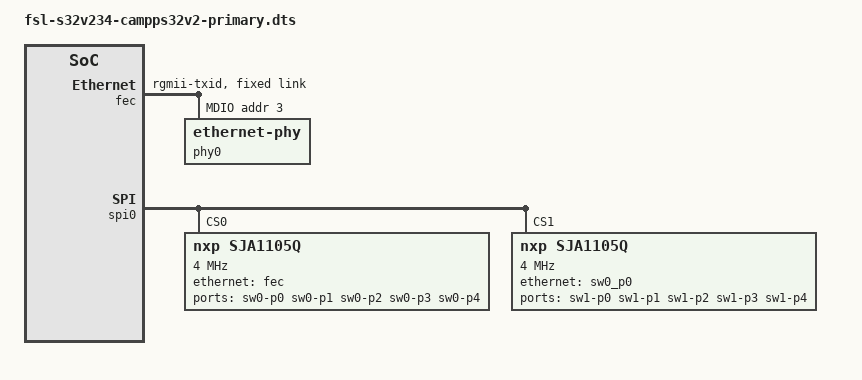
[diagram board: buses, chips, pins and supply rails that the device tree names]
// SPDX-License-Identifier: GPL-2.0+
/*
 * Copyright 2020 NXP
 *
 * This program is free software; you can redistribute it and/or modify
 * it under the terms of the GNU General Public License as published by
 * the Free Software Foundation; either version 2 of the License, or
 * (at your option) any later version.
 */

/dts-v1/;
#include "fsl-s32v234-campps32v2.dtsi"

/ {
	chosen {
		stdout-path = "serial0:115200n8";
	};
};

&fec {
	phy-mode = "rgmii-txid";
	status = "okay";

	fixed-link {
		speed=<1000>;
		full-duplex;
	};

	mdio {
		#address-cells = <1>;
		#size-cells = <0>;
		phy0: ethernet-phy@3 {
			reg = <3>;
		};
	};
};

&spi0 {
	#address-cells = <1>;
	#size-cells = <0>;
	pinctrl-names = "default";
	pinctrl-0 = <&pinctrl_dspi0>;
	status = "okay";

	sja1105q@0 {
		compatible = "nxp,sja1105q";
		spi-max-frequency = <0x3D0900>;
		spi-cpha;
		fsl,spi-cs-sck-delay = <100>;
		fsl,spi-sck-cs-delay = <100>;
		reg = <0>;

		dsa,member = < 0 0 >;

		ports {
			#address-cells = <1>;
			#size-cells = <0>;

			sw0_p0: port@0 {
				label = "sw0-p0";
				phy-mode = "rgmii-txid";
				reg = <0>;

				fixed-link {
					speed = <1000>;
					full-duplex;
				};
			};

			port@1 {
				label = "sw0-p1";
				phy-handle = <&phy0>;
				phy-mode = "rgmii-id";
				reg = <1>;
			};

			port@2 {
				label = "sw0-p2";
				phy-mode = "rgmii-txid";
				ethernet = <&fec>;
				reg = <2>;

				fixed-link {
					speed = <1000>;
					full-duplex;
				};
			};

			port@3 {
				label = "sw0-p3";
				phy-mode = "rgmii-txid";
				reg = <3>;

				fixed-link {
					speed = <1000>;
					full-duplex;
				};
			};

			port@4 {
				label = "sw0-p4";
				phy-mode = "rgmii-txid";
				reg = <4>;

				fixed-link {
					speed = <1000>;
					full-duplex;
				};
			};
		};
	};

	sja1105q@1 {
		compatible = "nxp,sja1105q";
		spi-max-frequency = <0x3D0900>;
		spi-cpha;
		fsl,spi-cs-sck-delay = <100>;
		fsl,spi-sck-cs-delay = <100>;
		reg = <1>;

		dsa,member = < 1 0 >;

		ports {
			#address-cells = <1>;
			#size-cells = <0>;

			sw1_p0: port@0 {
				label = "sw1-p0";
				phy-mode = "rgmii-txid";
				ethernet = <&sw0_p0>;
				reg = <0>;

				fixed-link {
					speed = <1000>;
					full-duplex;
				};
			};

			port@1 {
				label = "sw1-p1";
				phy-mode = "rgmii-txid";
				reg = <1>;

				fixed-link {
					speed = <1000>;
					full-duplex;
				};
			};

			port@2 {
				label = "sw1-p2";
				phy-mode = "rgmii-txid";
				reg = <2>;

				fixed-link {
					speed = <1000>;
					full-duplex;
				};
			};

			port@3 {
				label = "sw1-p3";
				phy-mode = "rgmii-txid";
				reg = <3>;

				fixed-link {
					speed = <1000>;
					full-duplex;
				};
			};

			port@4 {
				label = "sw1-p4";
				phy-mode = "rgmii-txid";
				reg = <4>;

				fixed-link {
					speed = <1000>;
					full-duplex;
				};
			};
		};
	};
};
